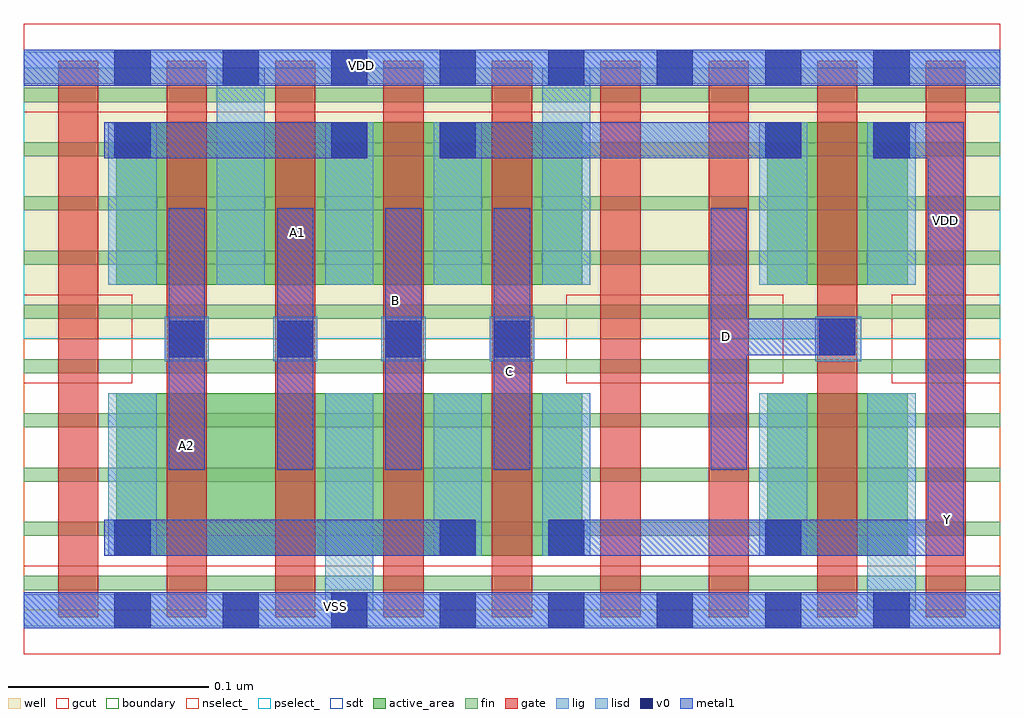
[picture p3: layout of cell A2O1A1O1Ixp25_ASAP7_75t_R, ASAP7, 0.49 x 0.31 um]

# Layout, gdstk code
import gdstk
lib = gdstk.Library(unit=1e-6, precision=2.5e-10)
def R(c, l, rs):  # rectangles x0, y0, x1, y1
    for r in rs: c.add(gdstk.rectangle(r[:2], r[2:], *l))
def A(c, l, x, y, w, h, nx, ny, dx, dy):  # array of equal rectangles
    R(c, l, [(x+i*dx, y+j*dy, x+i*dx+w, y+j*dy+h) for i in range(nx) for j in range(ny)])
def P(c, l, *ps):  # polygons
    for p in ps: c.add(gdstk.Polygon(p, *l))
well = (1, 0)
fin = (2, 0)
gate = (7, 0)
gcut = (10, 0)
active_area = (11, 0)
nselect_ = (12, 0)
pselect_ = (13, 0)
lig = (16, 0)
lisd = (17, 0)
v0 = (18, 0)
metal1 = (19, 0)
sdt = (88, 0)
boundary = (100, 0)

a2o1a1o1ixp25_asap7_75t_ = lib.new_cell('A2O1A1O1Ixp25_ASAP7_75t_R')
R(a2o1a1o1ixp25_asap7_75t_, well, [(0,0.135,0.486,0.27)])
A(a2o1a1o1ixp25_asap7_75t_, fin, 0, 0.01, 0.486, 0.007, 1, 10, 0, 0.027)
A(a2o1a1o1ixp25_asap7_75t_, gate, 0.017, -0.0035, 0.02, 0.277, 9, 1, 0.054, 0)
R(a2o1a1o1ixp25_asap7_75t_, gcut, [(0,-0.022,0.486,0.022), (0,0.113,0.054,0.157), (0.27,0.113,0.378,0.157), (0.432,0.113,0.486,0.157), (0,0.248,0.486,0.292)])
R(a2o1a1o1ixp25_asap7_75t_, active_area, [(0.046,0.027,0.278,0.108), (0.37,0.027,0.44,0.108), (0.046,0.162,0.278,0.243), (0.37,0.162,0.44,0.243)])
R(a2o1a1o1ixp25_asap7_75t_, nselect_, [(0,0,0.486,0.135)])
R(a2o1a1o1ixp25_asap7_75t_, pselect_, [(0,0.135,0.486,0.27)])
A(a2o1a1o1ixp25_asap7_75t_, lig, 0.07, 0.124, 0.022, 0.022, 4, 1, 0.054, 0)
R(a2o1a1o1ixp25_asap7_75t_, lig, [(0,-0.008,0.486,0.008), (0.394,0.124,0.417,0.146), (0,0.262,0.486,0.278)])
R(a2o1a1o1ixp25_asap7_75t_, lisd, [(0.15,0,0.174,0.108), (0.42,0,0.444,0.108), (0.042,0.027,0.066,0.108), (0.204,0.027,0.228,0.108), (0.258,0.027,0.282,0.108), (0.366,0.027,0.39,0.108), (0.042,0.162,0.066,0.243), (0.096,0.162,0.12,0.27), (0.15,0.162,0.174,0.243), (0.204,0.162,0.228,0.243), (0.258,0.162,0.282,0.27), (0.366,0.162,0.39,0.243), (0.42,0.162,0.444,0.243)])
A(a2o1a1o1ixp25_asap7_75t_, v0, 0.045, -0.009, 0.018, 0.018, 8, 2, 0.054, 0.27)
A(a2o1a1o1ixp25_asap7_75t_, v0, 0.072, 0.126, 0.018, 0.018, 4, 1, 0.054, 0)
R(a2o1a1o1ixp25_asap7_75t_, v0, [(0.045,0.027,0.063,0.045), (0.207,0.027,0.225,0.045), (0.261,0.027,0.279,0.045), (0.369,0.027,0.387,0.045), (0.396,0.127,0.414,0.145), (0.045,0.225,0.063,0.243), (0.153,0.225,0.171,0.243), (0.207,0.225,0.225,0.243), (0.369,0.225,0.387,0.243), (0.423,0.225,0.441,0.243)])
A(a2o1a1o1ixp25_asap7_75t_, metal1, 0.072, 0.07, 0.018, 0.13, 4, 1, 0.054, 0)
R(a2o1a1o1ixp25_asap7_75t_, metal1, [(0,-0.009,0.486,0.009), (0.04,0.027,0.225,0.045), (0.18,0.106,0.198,0.2), (0.04,0.225,0.171,0.243), (0.207,0.225,0.387,0.243), (0,0.261,0.486,0.279)])
P(a2o1a1o1ixp25_asap7_75t_, metal1, [(0.468,0.243),(0.423,0.243),(0.423,0.225),(0.45,0.225),(0.45,0.045),(0.261,0.045),(0.261,0.027),(0.468,0.027)],
  [(0.414,0.145),(0.36,0.145),(0.36,0.2),(0.342,0.2),(0.342,0.07),(0.36,0.07),(0.36,0.127),(0.414,0.127)])
A(a2o1a1o1ixp25_asap7_75t_, sdt, 0.15, 0.027, 0.024, 0.081, 3, 1, 0.054, 0)
A(a2o1a1o1ixp25_asap7_75t_, sdt, 0.042, 0.162, 0.024, 0.081, 5, 1, 0.054, 0)
R(a2o1a1o1ixp25_asap7_75t_, sdt, [(0.042,0.027,0.066,0.108), (0.366,0.027,0.39,0.108), (0.42,0.027,0.444,0.108), (0.366,0.162,0.39,0.243), (0.42,0.162,0.444,0.243)])
R(a2o1a1o1ixp25_asap7_75t_, boundary, [(0,0,0.486,0.27)])
a2o1a1o1ixp25_asap7_75t_.add(gdstk.Label('VSS', (0.528,0.193), layer=3, texttype=251))
a2o1a1o1ixp25_asap7_75t_.add(gdstk.Label('VDD', (0.459,0.194), layer=1, texttype=251))
a2o1a1o1ixp25_asap7_75t_.add(gdstk.Label('VSS', (0.155,0.002), layer=19, texttype=251))
a2o1a1o1ixp25_asap7_75t_.add(gdstk.Label('VDD', (0.168,0.271), layer=19, texttype=251))
a2o1a1o1ixp25_asap7_75t_.add(gdstk.Label('VSS', (0.155,0.002), layer=19, texttype=251))
a2o1a1o1ixp25_asap7_75t_.add(gdstk.Label('D', (0.35,0.136), layer=19, texttype=251))
a2o1a1o1ixp25_asap7_75t_.add(gdstk.Label('C', (0.242,0.119), layer=19, texttype=251))
a2o1a1o1ixp25_asap7_75t_.add(gdstk.Label('B', (0.185,0.154), layer=19, texttype=251))
a2o1a1o1ixp25_asap7_75t_.add(gdstk.Label('A1', (0.136,0.188), layer=19, texttype=251))
a2o1a1o1ixp25_asap7_75t_.add(gdstk.Label('A2', (0.081,0.082), layer=19, texttype=251))
a2o1a1o1ixp25_asap7_75t_.add(gdstk.Label('Y', (0.46,0.045), layer=19, texttype=251))

lib.write_gds('A2O1A1O1Ixp25_ASAP7_75t_R.gds')
